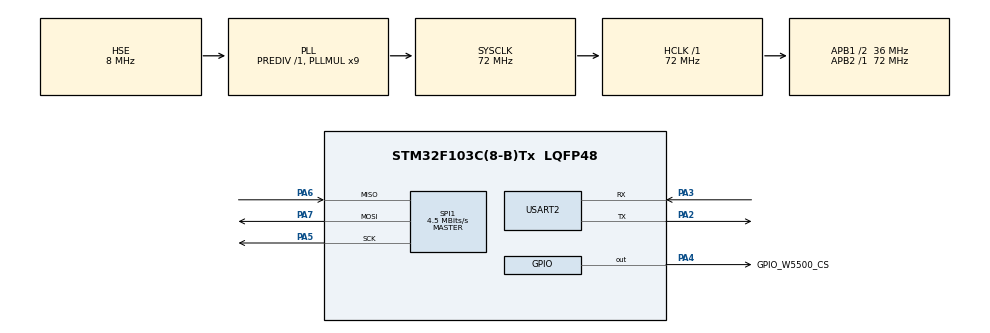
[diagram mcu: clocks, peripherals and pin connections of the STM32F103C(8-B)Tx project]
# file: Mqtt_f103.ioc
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FREERTOS.Tasks01=defaultTask,0,128,StartDefaultTask,Default,NULL,Dynamic,NULL,NULL
FREERTOS.configTOTAL_HEAP_SIZE=3072
Mcu.Family=STM32F1
Mcu.Name=STM32F103C(8-B)Tx
Mcu.Package=LQFP48
NVIC.PriorityGroup=NVIC_PRIORITYGROUP_4
NVIC.TIM4_IRQn=true\:0\:0\:false\:false\:true\:false\:false\:true
NVIC.TimeBase=TIM4_IRQn
NVIC.TimeBaseIP=TIM4
NVIC.USART2_IRQn=true\:0\:0\:false\:false\:true\:false\:true\:true
PA13.Mode=Serial_Wire
PA13.Signal=SYS_JTMS-SWDIO
PA14.Mode=Serial_Wire
PA14.Signal=SYS_JTCK-SWCLK
PA2.Mode=Asynchronous
PA2.Signal=USART2_TX
PA3.Mode=Asynchronous
PA3.Signal=USART2_RX
PA4.GPIO_Label=GPIO_W5500_CS
PA4.GPIO_Speed=GPIO_SPEED_FREQ_HIGH
PA4.Signal=GPIO_Output
PA5.Mode=Full_Duplex_Master
PA5.Signal=SPI1_SCK
PA6.Mode=Full_Duplex_Master
PA6.Signal=SPI1_MISO
PA7.Mode=Full_Duplex_Master
PA7.Signal=SPI1_MOSI
PD0-OSC_IN.Mode=HSE-External-Oscillator
PD0-OSC_IN.Signal=RCC_OSC_IN
PD1-OSC_OUT.Mode=HSE-External-Oscillator
PD1-OSC_OUT.Signal=RCC_OSC_OUT
ProjectManager.HeapSize=0x200
ProjectManager.StackSize=0x400
ProjectManager.TargetToolchain=STM32CubeIDE
RCC.AHBFreq_Value=72000000
RCC.APB1CLKDivider=RCC_HCLK_DIV2
RCC.APB1Freq_Value=36000000
RCC.APB1TimFreq_Value=72000000
RCC.APB2Freq_Value=72000000
RCC.APB2TimFreq_Value=72000000
RCC.HCLKFreq_Value=72000000
RCC.PLLMUL=RCC_PLL_MUL9
RCC.PLLSourceVirtual=RCC_PLLSOURCE_HSE
RCC.SYSCLKFreq_VALUE=72000000
RCC.SYSCLKSource=RCC_SYSCLKSOURCE_PLLCLK
RCC.USBFreq_Value=72000000
SPI1.BaudRatePrescaler=SPI_BAUDRATEPRESCALER_16
SPI1.CalculateBaudRate=4.5 MBits/s
SPI1.Direction=SPI_DIRECTION_2LINES
SPI1.Mode=SPI_MODE_MASTER
SPI1.VirtualType=VM_MASTER
USART2.VirtualMode=VM_ASYNC
VP_FREERTOS_VS_CMSIS_V1.Mode=CMSIS_V1
VP_SYS_VS_tim4.Mode=TIM4
board=custom

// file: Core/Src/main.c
/* USER CODE BEGIN Header */
/**
  ******************************************************************************
  * @file           : main.c
  * @brief          : Main program body
  ******************************************************************************
  * @attention
  *
  * <h2><center>&copy; Copyright (c) 2020 STMicroelectronics.
  * All rights reserved.</center></h2>
  *
  * This software component is licensed by ST under BSD 3-Clause license,
  * the "License"; You may not use this file except in compliance with the
  * License. You may obtain a copy of the License at:
  *                        opensource.org/licenses/BSD-3-Clause
  *
  ******************************************************************************
  */
/* USER CODE END Header */

#include "main.h"

/* USER CODE BEGIN Includes */
#include "FreeRTOS.h"
#include "task.h"
#include "queue.h"
#include "semphr.h"
#include "event_groups.h"
#include "timers.h"

#include "spi.h"
#include <stdio.h>
#include <stdlib.h>
#include <stdarg.h>
#include <string.h>
#include <stdint.h>

//INCLUSAO DAS LIBS PARA W5500 E MQTT
#include "socket.h"	// Just include one header for WIZCHIP
#include "wizchip_conf.h"
#include "mqtt_interface.h"
#include "MQTTClient.h"
#include "dhcp.h"
#include "dns.h"
/* USER CODE END Includes */

/* USER CODE BEGIN PTD */
typedef enum
{
	Bit_RESET = 0,
	Bit_SET
}BitAction;
/* USER CODE END PTD */

/* USER CODE BEGIN PD */
//defines para socket e tamanho de buffer para w5500
#define TCP_SOCKET	0
#define UDP_SOCKET	1
#define SOCK_DNS    6
#define DATA_BUF_SIZE   2048

//defines para bits do evt groups
#define BIT_0_MQTT (1 << 0)
#define BIT_1 (1 << 1)
#define BIT_2 (1 << 2)
#define BIT_3 (1 << 3)
#define BIT_4 (1 << 4)
#define BIT_5 (1 << 5)
#define BIT_6 (1 << 6)
#define BIT_7 (1 << 7)
#define BIT_8 (1 << 8)
#define BIT_9 (1 << 9)
#define BIT_10 (1 << 10)
#define BIT_11 (1 << 11)
#define BIT_12 (1 << 12)
#define BIT_13 (1 << 13)
#define BIT_14 (1 << 14)
#define BIT_15 (1 << 15)
#define BIT_16 (1 << 16)
#define BIT_17 (1 << 17)
#define BIT_18 (1 << 18)
#define BIT_19 (1 << 19)
#define BIT_20 (1 << 20)
#define BIT_21 (1 << 21)
#define BIT_22 (1 << 22)
#define BIT_23 (1 << 23)

char local_buf[500] = {0};
int VALUE = 0;
int x = 0;

uint32_t comando;
uint32_t comando1;

/* USER CODE END PD */

SPI_HandleTypeDef hspi1;

UART_HandleTypeDef huart2;

/* USER CODE BEGIN PV */
//mutexes para sicronização de perifericos
SemaphoreHandle_t xMutex = NULL;
SemaphoreHandle_t xSPIW5500_MUTEX = NULL;
EventGroupHandle_t xEvt_Group_f103 = NULL;

//variaveil que sincroniza os timers das libs do mqtt, dns e w5500
unsigned long MilliTimer = 0;

//variaveis para DNS E DHCP
uint16_t SEDHCP =1; //0= IP FIXO //1= DHCP
extern uint8_t  DNS_SOCKET;    // SOCKET number for DNS
uint8_t gDATABUF[DATA_BUF_SIZE];
uint8_t char_buff[500] = {0};

uint16_t porta = 80; //PORTA WEBSERVER
Network n;	//network w5500
Client c;	//client mqtt
//states for multi-thread http
#define HTTP_IDLE 0
#define HTTP_SENDING 1

//variables for multi-thread http
uint32_t sentsize[_WIZCHIP_SOCK_NUM_];
uint32_t filesize[_WIZCHIP_SOCK_NUM_];
uint8_t http_state[_WIZCHIP_SOCK_NUM_];

///////////////////////////////////
// Default Network Configuration //
///////////////////////////////////
wiz_NetInfo gWIZNETINFO = { .mac = {0xDE, 0xAD, 0xBE, 0xFB, 0xFE, 0xED},
							.ip = {169, 254, 216, 240},
							.sn = {255,255,255,0},
							.gw = {169, 254, 216, 1},
							.dns = {0,0,0,0},
							.dhcp = NETINFO_STATIC };

//estrutura de dados para lib do mqtt.
struct opts_struct
{
	char* clientid;
	int nodelimiter;
	char* delimiter;
	enum QoS qos;
	char* username;
	char* password;
	char* host;
	int port;
	int showtopics;//       usuário                     password             server      porta
} opts ={(char*)"LucasHardware", 0, (char*)"\n", QOS0, "general", "mqtt", (char*)"5.196.95.208",1883, 1};
				//clientIDMQTTalterado
/* USER CODE END PV */

void SystemClock_Config(void);
static void MX_GPIO_Init(void);
static void MX_SPI1_Init(void);
static void MX_USART2_UART_Init(void);

/* USER CODE BEGIN PFP */
//------TAREFAS------
void vTask_blink (void *pvParameter );
void vMQTT_Yield (void * pvParameter );
void vPub_MQTT ( void *pvParameter );

//-----FUNCOES------
void vPrintString (char* UartSend_f);
void USARTlib_Putc(UART_HandleTypeDef* huart, char c);
void USARTlib_Puts(char* str);
void env_info_rede();
uint8_t ucGet_IP_by_DNS(uint8_t * domain_name, uint8_t * domain_ip_return);
void messageArrived(MessageData* data);
void Publica_MQTT();

//////////
// TODO //
//////////////////////////////////////////////////////////////////////////////////////////////
// Call back function for W5500 SPI - Theses used as parameter of reg_wizchip_xxx_cbfunc()  //
// Should be implemented by WIZCHIP users because host is dependent                         //
//////////////////////////////////////////////////////////////////////////////////////////////
void  wizchip_select(void);
void  wizchip_deselect(void);
void  wizchip_write(uint8_t wb);
uint8_t wizchip_read();
//////////////////////////////////////////////////////////////////////////////////////////////

//////////////////////////////////
// For example of ioLibrary_BSD //
//////////////////////////////////
void network_init(void);								// Initialize Network information and display it
int16_t tcp_client(uint8_t sn, uint8_t* tx_buf, uint8_t* rx_buf, uint8_t buffer_send_size, uint8_t* buffer_recv_size, uint8_t* destip, uint16_t destport);
//////////////////////////////////
/* USER CODE END PFP */

int main(void)
{
  /* USER CODE BEGIN 1 */
	uint8_t i;
	uint8_t memsize[2][8] = {{2,2,2,2,2,2,2,2},{2,2,2,2,2,2,2,2}};
  /* USER CODE END 1 */

  /* MCU Configuration--------------------------------------------------------*/

  /* Reset of all peripherals, Initializes the Flash interface and the Systick. */
  HAL_Init();

  /* Configure the system clock */
  SystemClock_Config();

  /* Initialize all configured peripherals */
  MX_GPIO_Init();
  MX_SPI1_Init();
  MX_USART2_UART_Init();

  /* USER CODE BEGIN RTOS_MUTEX */
  //criação de mutexes para sincronização de envio na uart e na spi
  xMutex = xSemaphoreCreateMutex();
  xSPIW5500_MUTEX = xSemaphoreCreateMutex();

  if( xMutex != NULL) vPrintString("xMutex criada com sucesso!\r\n");
  if( xSPIW5500_MUTEX != NULL) vPrintString("xSPIW5500_MUTEX criada com sucesso!\r\n");

	//INICIALIZAÇÃO DO PHY ETH W5500 QUE DEPENDE DAS MUTEX FUNCIONANDO.
	////////////////////////////////////////////////////////////////////////////////////////////////////
	// First of all, Should register SPI callback functions implemented by user for accessing WIZCHIP //
	////////////////////////////////////////////////////////////////////////////////////////////////////

	/* Chip selection call back */

	#if   _WIZCHIP_IO_MODE_ == _WIZCHIP_IO_MODE_SPI_VDM_
	reg_wizchip_cs_cbfunc(wizchip_select, wizchip_deselect);
	#elif _WIZCHIP_IO_MODE_ == _WIZCHIP_IO_MODE_SPI_FDM_
	reg_wizchip_cs_cbfunc(wizchip_select, wizchip_select);  // CS must be tried with LOW.
	#else
	#if (_WIZCHIP_IO_MODE_ & _WIZCHIP_IO_MODE_SIP_) != _WIZCHIP_IO_MODE_SIP_
	#error "Unknown _WIZCHIP_IO_MODE_"
	#else
	reg_wizchip_cs_cbfunc(wizchip_select, wizchip_deselect);
	#endif
	#endif

	/* SPI Read & Write callback function */
	reg_wizchip_spi_cbfunc(wizchip_read, wizchip_write);

	////////////////////////////////////////////////////////////////////////
	/* WIZCHIP SOCKET Buffer initialize */
	if(ctlwizchip(CW_INIT_WIZCHIP,(void*)memsize) == -1)
	{
		//init fail
		while(1);
	}

	/* Network initialization */
	network_init();
  /* USER CODE END RTOS_MUTEX */

  /* USER CODE BEGIN RTOS_SEMAPHORES */
	//criação de evt group que sincroniza as tarefas que dependem de um bit
	xEvt_Group_f103 = xEventGroupCreate();

  /* USER CODE END RTOS_SEMAPHORES */

  /* Create the thread(s) */
  /* definition and creation of defaultTask */

  /* USER CODE BEGIN RTOS_THREADS */
	/**
	 * COMO O PROJETO É CONSTITUIDO EM FREERTOS, TEMOS CONSIDERAÇÕES A POR AQUI
	 *
	 * 1 - As tarefas estão concorrendo entre si com uma frequencia de 1KHz, ou seja,
	 * a cada milisegundo ocorre uma troca de contexto e o kernel poe uma nova tarefa em execução,
	 * baseado em nivel de prioridade e se ela esta ou não nos estados, ready, bloqued, suspend.
	 *
	 * 2 - Para enviar dados entre tarefas devem ser utilizados as topologias de eventos baseados em Filas
	 *
	 * 3 - Para sincronizar recursos compartilhados, como por exemplo, envio na SPI, UART, display ou algo do tipo,
	 * devem ser utilizadas as mutexes, como estamos utilizando aqui, uma para serial, outra para SPI.
	 *
	 * 4 - Para sincronizar tarefas com recursos globais, como, tarefas que dependem da conexão com mqtt ativa para funcionar por exemplo,
	 * devemos utilizar event_groups,
	 *
	 * 5 - Para sincronizar eventos entre tarefas ou recursos baseados em flag ou maquina de estados, devemos utilizar task notiy e semaforos.
	 */

	if( (xTaskCreate( vTask_blink, "blink task", configMINIMAL_STACK_SIZE * 3 , NULL, 1, NULL) ) != pdTRUE )
	{
	//sprintf(UartSend,"nao foi possivel alocar tarefa vTask_blink no escalonador");
	//HAL_UART_Transmit(&huart2,(uint8_t*) UartSend, sizeof(UartSend), 10);

	vPrintString("nao foi possivel alocar tarefa vTaskBlink no escalonador");
	}

	if( (xTaskCreate( vMQTT_Yield, "MQTT YIELD", configMINIMAL_STACK_SIZE * 6 , NULL, 3, NULL) ) != pdTRUE )
	{
	//sprintf(UartSend,"nao foi possivel alocar tarefa vTask_blink no escalonador");
	//HAL_UART_Transmit(&huart2,(uint8_t*) UartSend, sizeof(UartSend), 10);

	vPrintString("nao foi possivel alocar tarefa vMQTT_Yield no escalonador");
	}

	if( (xTaskCreate( vPub_MQTT, "MQTT PUB", configMINIMAL_STACK_SIZE * 2, NULL, 1, NULL) ) != pdTRUE )
	{
	//sprintf(UartSend,"nao foi possivel alocar tarefa vTask_blink no escalonador");
	//HAL_UART_Transmit(&huart2,(uint8_t*) UartSend, sizeof(UartSend), 10);

	vPrintString("nao foi possivel alocar tarefa vPub_MQTT no escalonador");
	}

	vTaskStartScheduler();

  /* USER CODE END RTOS_THREADS */

  /* Start scheduler */

  /* We should never get here as control is now taken by the scheduler */
  /* Infinite loop */
  while (1)
  {

  }
}

void SystemClock_Config(void)
{
  RCC_OscInitTypeDef RCC_OscInitStruct = {0};
  RCC_ClkInitTypeDef RCC_ClkInitStruct = {0};

  /** Initializes the CPU, AHB and APB busses clocks
  */
  RCC_OscInitStruct.OscillatorType = RCC_OSCILLATORTYPE_HSE;
  RCC_OscInitStruct.HSEState = RCC_HSE_ON;
  RCC_OscInitStruct.HSEPredivValue = RCC_HSE_PREDIV_DIV1;
  RCC_OscInitStruct.HSIState = RCC_HSI_ON;
  RCC_OscInitStruct.PLL.PLLState = RCC_PLL_ON;
  RCC_OscInitStruct.PLL.PLLSource = RCC_PLLSOURCE_HSE;
  RCC_OscInitStruct.PLL.PLLMUL = RCC_PLL_MUL9;
  if (HAL_RCC_OscConfig(&RCC_OscInitStruct) != HAL_OK)
  {
    Error_Handler();
  }
  /** Initializes the CPU, AHB and APB busses clocks
  */
  RCC_ClkInitStruct.ClockType = RCC_CLOCKTYPE_HCLK|RCC_CLOCKTYPE_SYSCLK
                              |RCC_CLOCKTYPE_PCLK1|RCC_CLOCKTYPE_PCLK2;
  RCC_ClkInitStruct.SYSCLKSource = RCC_SYSCLKSOURCE_PLLCLK;
  RCC_ClkInitStruct.AHBCLKDivider = RCC_SYSCLK_DIV1;
  RCC_ClkInitStruct.APB1CLKDivider = RCC_HCLK_DIV2;
  RCC_ClkInitStruct.APB2CLKDivider = RCC_HCLK_DIV1;

  if (HAL_RCC_ClockConfig(&RCC_ClkInitStruct, FLASH_LATENCY_2) != HAL_OK)
  {
    Error_Handler();
  }
}

static void MX_SPI1_Init(void)
{

  /* SPI1 parameter configuration*/
  hspi1.Instance = SPI1;
  hspi1.Init.Mode = SPI_MODE_MASTER;
  hspi1.Init.Direction = SPI_DIRECTION_2LINES;
  hspi1.Init.DataSize = SPI_DATASIZE_8BIT;
  hspi1.Init.CLKPolarity = SPI_POLARITY_LOW;
  hspi1.Init.CLKPhase = SPI_PHASE_1EDGE;
  hspi1.Init.NSS = SPI_NSS_SOFT;
  hspi1.Init.BaudRatePrescaler = SPI_BAUDRATEPRESCALER_16;
  hspi1.Init.FirstBit = SPI_FIRSTBIT_MSB;
  hspi1.Init.TIMode = SPI_TIMODE_DISABLE;
  hspi1.Init.CRCCalculation = SPI_CRCCALCULATION_DISABLE;
  hspi1.Init.CRCPolynomial = 10;
  if (HAL_SPI_Init(&hspi1) != HAL_OK)
  {
    Error_Handler();
  }

}

static void MX_USART2_UART_Init(void)
{

  huart2.Instance = USART2;
  huart2.Init.BaudRate = 115200;
  huart2.Init.WordLength = UART_WORDLENGTH_8B;
  huart2.Init.StopBits = UART_STOPBITS_1;
  huart2.Init.Parity = UART_PARITY_NONE;
  huart2.Init.Mode = UART_MODE_TX_RX;
  huart2.Init.HwFlowCtl = UART_HWCONTROL_NONE;
  huart2.Init.OverSampling = UART_OVERSAMPLING_16;
  if (HAL_UART_Init(&huart2) != HAL_OK)
  {
    Error_Handler();
  }

}

static void MX_GPIO_Init(void)
{
  GPIO_InitTypeDef GPIO_InitStruct = {0};

  /* GPIO Ports Clock Enable */
  __HAL_RCC_GPIOD_CLK_ENABLE();
  __HAL_RCC_GPIOA_CLK_ENABLE();

  /*Configure GPIO pin Output Level */
  HAL_GPIO_WritePin(GPIO_W5500_CS_GPIO_Port, GPIO_W5500_CS_Pin, GPIO_PIN_RESET);

  /*Configure GPIO pin : GPIO_W5500_CS_Pin */
  GPIO_InitStruct.Pin = GPIO_W5500_CS_Pin;
  GPIO_InitStruct.Mode = GPIO_MODE_OUTPUT_PP;
  GPIO_InitStruct.Pull = GPIO_NOPULL;
  GPIO_InitStruct.Speed = GPIO_SPEED_FREQ_HIGH;
  HAL_GPIO_Init(GPIO_W5500_CS_GPIO_Port, &GPIO_InitStruct);

}

/* USER CODE BEGIN 4 */
//------------------------------------------ INICIO DAS TAREFAS ------------------------------------------------------
void vMQTT_Yield (void * pvParameter )
{
	//inicio da tarefa que da manutenção da conexão mqtt
	vPrintString("vMQTT_YIELD iniciada com sucesso\r\n");

	//variavel que armazena o estado atual da conexão
	int rc = -1;

	unsigned int targetPort = 1883; //PORTA SERVIDOR MQTT

	uint8_t Domain_name[] = "";    		// for Example domain name
	uint8_t Domain_IP[4]  = {192,168,1,142 };               		// Translated IP address by DNS Server

	unsigned char recvBuff[1024] = {0};
	unsigned char sendBuff[1024] = {0};

	//função que retorna o IP do mqtt
	ucGet_IP_by_DNS(Domain_name, Domain_IP);

	for(;;)
	{
		//verifica se RC não recebeu estado de conexão ativa, caso nao tenha recebido, faz a conexão com broker mqtt a partir do socket
		if(rc != SUCCESSS)
		{
			//desconetar algum possivel socket aberto e limpar bit de evt group para MQTT.
			w5500_disconnect(&n);
			xEventGroupClearBits(xEvt_Group_f103, BIT_0_MQTT);

			//preparação da camamda network do w5500 para comunicar-se com a camada do mqtt
			NewNetwork(&n);
			vPrintString("Conectando ao servidor do MQTT por meio de socket!\r\n");
			ConnectNetwork(&n, Domain_IP, targetPort);

			//caso conexão do socket seja bem sucedida, é repassado os buffers para conexão com mqtt
			vPrintString("Conectando ao broker mqtt");
			MQTTClient(&c,&n,20000,sendBuff,1024,recvBuff,1024);
			vTaskDelay(10/portTICK_PERIOD_MS);

			MQTTPacket_connectData data = MQTTPacket_connectData_initializer;
			data.willFlag = 0;
			data.MQTTVersion = 3;
			data.clientID.cstring = opts.clientid;
			data.username.cstring = opts.username;
			data.password.cstring = opts.password;
			data.keepAliveInterval = 60;
			data.cleansession = 1;

			//conexão com protoclo mqtt é tentada, caso seja estabelecida, SUCCESS é chamado para rc
			rc = MQTTConnect(&c, &data);
			opts.showtopics = 1;

			if(rc == SUCCESSS)
			{
				vPrintString("MQTT Conectado com sucesso!!\r\n");
				//liberar evt group, fazer subscriber em topico e etc..
				MQTTSubscribe(&c, "w5500_LUCAS_", QOS0, messageArrived);

				xEventGroupSetBits(xEvt_Group_f103, BIT_0_MQTT);
			}
		}

		//if(rc==SUCCESSS) MQTTYield(&c, 1000); //varredura de protocolo mqtt para receber dados em topicos e fazer manutenção da conexao

		//testar esse tipo de implementação
		rc = MQTTYield(&c, 1000);

		memset(char_buff, 0, sizeof(char_buff));
		sprintf(char_buff,"rc value = %d", rc);
		vPrintString(char_buff);

		//delay para liberar contexto as outras tarefas
		vTaskDelay(100/portTICK_PERIOD_MS);
	}

	//vTaskDelet neste ponto da tarefa é uma boa pratica, mas, o codigo nunca deve chegar aqui.
	vTaskDelete(NULL);
}

void vPub_MQTT ( void *pvParameter )
{
	vPrintString("Tarefa Pub_MQTT Iniciada com Sucesso!\r\n");

	for( ;; )
	{
		//esse event_group mantem a tarefa bloqueada enquanto a conexão MQTT foi estabelecida
		xEventGroupWaitBits(xEvt_Group_f103, BIT_0_MQTT, pdFALSE, pdFALSE, portMAX_DELAY);

		//faz o envio de um dado via mqtt
		Publica_MQTT();
		vPrintString("Loop MQTT PUB\n");

		//bloqueia a terfa por 5 segundos para o proximo envio
		vTaskDelay(5000/portTICK_PERIOD_MS);
	}
	//vTaskDelet neste ponto da tarefa é uma boa pratica, mas, o codigo nunca deve chegar aqui.
	vTaskDelete(NULL);
}

void vTask_blink( void *pvParameter )
{
	char buff[300];
	vPrintString("vTaskBlink iniciada!! \r\n");
	//uint16_t size_heap = 0;

    for( ;; )
	{
    	//essa tarefa serve para depurarmos o consumo de memoria ram das nossas tarefas, como tambem verificar a quantidade de heap livre

    	//essa função do vTaskList não deve ser utilizada em produção em campo, pois a mesma não é deterministica
    	vTaskList(buff);

    	vPrintString("\r\nTask-------------State-----Prio------Stack---Num\r\n");
    	vPrintString(buff);
    	vPrintString("\n\n\n");

        memset(buff, 0, sizeof(buff));
        //size_heap = xPortGetMinimumEverFreeHeapSize();
        sprintf(buff,"Free Heap: %d bytes\n\n", xPortGetMinimumEverFreeHeapSize());

        vPrintString(buff);

        vTaskDelay( 10000 / portTICK_PERIOD_MS );

       //vPrintString("Task Blink \r\n");
    }

	//vTaskDelet neste ponto da tarefa é uma boa pratica, mas, o codigo nunca deve chegar aqui.
    vTaskDelete(NULL);
}

//------------------------------------------ FIM DAS TAREFAS ---------------------------------------------------------

//--------------------------------------------------------------------------------------------------------------------

//------------------------------------------ INICIO DAS FUNÇÔES ------------------------------------------------------
//Função de callback para MQTT
void messageArrived(MessageData* data)
{
	//tentar passar o minimo de tempo possivel aqui no callback, pois temos 5s de timeout setados em mqtt.yield()
	/*
	printf("Message arrived on topic %.*s: %.*s\n", data->topicName->lenstring.len, data->topicName->lenstring.data,
		data->message->payloadlen, data->message->payload);
	*/

	memset(char_buff, 0, sizeof(char_buff));

	sprintf(char_buff,"\n%.*s\n", data->message->payloadlen, data->message->payload);
	//sprintf(char_buff,"Msg Recebida:\nTopico = %.*s\nMsg= %.*s\n",data->topicName->lenstring.len, data->topicName->lenstring.data, data->message->payloadlen, data->message->payload);
	vPrintString(char_buff);

	comando = atoi  ( char_buff);

	comando1 = comando;

	if (comando1 == 10)
	{
		vPrintString("mss_ok!!! \r\n");
	}

}

void Publica_MQTT()
{
	MQTTMessage pubmsg;
	pubmsg.qos = QOS0;
	pubmsg.retained = 0;

	x++;

	VALUE = x * 5;

	char local_buf [500];
	sprintf (local_buf, "%02u", VALUE);

	pubmsg.payload = local_buf;
	pubmsg.payloadlen = strlen(local_buf);

	MQTTPublish (&c, "ihm/amperes", &pubmsg);

	if(VALUE >= 100)
	{
		VALUE = 0;
		x = 0;
	}
}

void vPrintString (char * UartSend_f)
{
	xSemaphoreTake( xMutex, portMAX_DELAY );
	{

	USARTlib_Puts(UartSend_f);

	}
	xSemaphoreGive( xMutex );

}

void USARTlib_Putc(UART_HandleTypeDef* huart, char c)
{
	//Envia caracter
	HAL_UART_Transmit(huart, &c, 1, 10);
}

void USARTlib_Puts(char* str)
{
	while (*str)
	{
		USARTlib_Putc(&huart2, *str++);
	}
}

uint8_t W5500_rxtx(uint8_t data)
{
	xSemaphoreTake(xSPIW5500_MUTEX, portMAX_DELAY);

	uint8_t rxdata;
	HAL_SPI_TransmitReceive(&hspi1, &data, &rxdata, 1, 50);

	xSemaphoreGive(xSPIW5500_MUTEX);
	return (rxdata);
}

//////////
// TODO //
/////////////////////////////////////////////////////////////////
// SPI Callback function for accessing WIZCHIP                 //
// WIZCHIP user should implement with your host spi peripheral //
/////////////////////////////////////////////////////////////////
void  wizchip_select(void)
{
	W5500_select();
}

void  wizchip_deselect(void)
{
	W5500_release();
}

void  wizchip_write(uint8_t wb)
{
	W5500_tx(wb);
}

uint8_t wizchip_read()
{
   return W5500_rx();
}
//////////////////////////////////////////////////////////////////////////

/////////////////////////////////////////////////////////////
// Intialize the network information to be used in WIZCHIP //
/////////////////////////////////////////////////////////////
void network_init(void)
{
   uint8_t tmpstr[6];

	ctlnetwork(CN_SET_NETINFO, (void*)&gWIZNETINFO);

	ctlwizchip(CW_GET_ID,(void*)tmpstr);
	/*
	do{//check phy status.
		if(ctlwizchip(CW_GET_PHYLINK,(void*)&temp) == -1){
			USARTlib_Puts("Unknown PHY link status.\r\n");
		}
	}while(temp == PHY_LINK_OFF);*/

	if(SEDHCP==0){
		USARTlib_Puts("W5500 IP Fixo\r\n");
		wizchip_setnetinfo(&gWIZNETINFO);
	}
	if(SEDHCP==1){
		USARTlib_Puts("W5500 Rodando DHCP\r\n");
		DHCP_init(7, gDATABUF);
		unsigned char dhcp_ret ;

		do{
			dhcp_ret = DHCP_run();

			if((dhcp_ret == 1) || (dhcp_ret == DHCP_IP_CHANGED)) {
				getIPfromDHCP(gWIZNETINFO.ip);
				getGWfromDHCP(gWIZNETINFO.gw);
				getSNfromDHCP(gWIZNETINFO.sn);
				getDNSfromDHCP(gWIZNETINFO.dns);
				gWIZNETINFO.dhcp = NETINFO_DHCP;
				wizchip_setnetinfo(&gWIZNETINFO);
			}
			if(dhcp_ret == DHCP_FAILED)	{
				USARTlib_Puts(">> DHCP Failed\r\n");
			}
			//USARTlib_Puts("Iteracao para DHCP\r\n");
		}while(dhcp_ret!=4);
	}

	env_info_rede();
}

void env_info_rede(){
	char writeValue[200] = {0};

	wizchip_getnetinfo(&gWIZNETINFO);
	memset(&writeValue[0],0,sizeof(writeValue));
	sprintf(writeValue,"Mac address: %02x:%02x:%02x:%02x:%02x:%02x\r\n",gWIZNETINFO.mac[0],gWIZNETINFO.mac[1],gWIZNETINFO.mac[2],gWIZNETINFO.mac[3],gWIZNETINFO.mac[4],gWIZNETINFO.mac[5]);
	USARTlib_Puts(writeValue);

	memset(&writeValue[0],0,sizeof(writeValue));
	sprintf(writeValue,"IP address: %d.%d.%d.%d\r\n", gWIZNETINFO.ip[0],gWIZNETINFO.ip[1],gWIZNETINFO.ip[2],gWIZNETINFO.ip[3]);
	USARTlib_Puts(writeValue);

	memset(&writeValue[0],0,sizeof(writeValue));
	sprintf(writeValue,"SM Mask: %d.%d.%d.%d\r\n",gWIZNETINFO.sn[0],gWIZNETINFO.sn[1],gWIZNETINFO.sn[2],gWIZNETINFO.sn[3]);
	USARTlib_Puts(writeValue);

	memset(&writeValue[0],0,sizeof(writeValue));
	sprintf(writeValue,"Gate way: %d.%d.%d.%d\r\n",gWIZNETINFO.gw[0],gWIZNETINFO.gw[1],gWIZNETINFO.gw[2],gWIZNETINFO.gw[3]);
	USARTlib_Puts(writeValue);

	memset(&writeValue[0],0,sizeof(writeValue));
	sprintf(writeValue,"DNS Server: %d.%d.%d.%d\r\n",gWIZNETINFO.dns[0],gWIZNETINFO.dns[1],gWIZNETINFO.dns[2],gWIZNETINFO.dns[3]);
	USARTlib_Puts(writeValue);
}

uint8_t ucGet_IP_by_DNS(uint8_t * domain_name, uint8_t * domain_ip_return)
{

	uint8_t DNS_1nd[4]    = {8, 8, 8, 8};      	// Secondary DNS server IP
	uint8_t DNS_2nd[4]    = {208, 67, 222, 222};      	// Secondary DNS server IP
	uint8_t DNS_3nd[4]    = {208, 67, 222, 222};      	// Secondary DNS server IP

	uint8_t ret = 0;
	DNS_init(SOCK_DNS, gDATABUF);

	if ((ret = DNS_run(gWIZNETINFO.dns, domain_name, domain_ip_return)) > 0) // try to 1st DNS
	{
	   vPrintString("> 1st DNS Respond\r\n");
	}
	else if ((ret != -1) && ((ret = DNS_run(DNS_1nd, domain_name, domain_ip_return))>0))     // retry to 2nd DNS
	{
		vPrintString("> 2nd DNS Respond\r\n");
	}
	else if(ret == -1)
	{
		vPrintString("> MAX_DOMAIN_NAME is too small. Should be redefined it.\r\n");
	}
	else
	{
		vPrintString("> DNS Failed\r\n");
	}

	if(ret > 0)
	{
		char buff_trans[200];
		sprintf(buff_trans,"> Translated %s to [%d.%d.%d.%d]\r\n",domain_name,domain_ip_return[0],domain_ip_return[1],domain_ip_return[2],domain_ip_return[3]);
		vPrintString(buff_trans);

		return 1;
	}

	return 0;
}

//Código de erros e mensagens:
//sn 	- 	Success : The socket number @b 'sn' passed as parameter
//1	-	SOCK_OK
//-1	-	SOCKERR_SOCKNUM  - Invalid socket number
//-5	-	SOCKERR_SOCKMODE - Invalid operation in the socket
//-13	-	SOCKERR_TIMEOUT  - Timeout occurred
//-7	-	SOCKERR_SOCKSTATUS - Invalid socket status for socket operation
//-14	-	SOCKERR_DATALEN    - zero data length
//-12	-	SOCKERR_IPINVALID   - Wrong server IP address
//-11	-	SOCKERR_PORTZERO    - Server port zero
//-4	-	SOCKERR_SOCKCLOSED  - Socket unexpectedly closed
//-6	-	SOCKERR_SOCKFLAG    - Invaild socket flag
//-1000 -	SOCK_FATAL  - Result is fatal error about socket process.
//0	-	SOCK_BUSY		 - Socket is busy
//200	-	SUCCESS_RECEIVE
int16_t tcp_client(uint8_t sn, uint8_t* tx_buf, uint8_t* rx_buf, uint8_t buffer_send_size, uint8_t* buffer_recv_size, uint8_t* destip, uint16_t destport)
{
   int32_t ret; // return value for SOCK_ERRORs
   uint16_t size = 0;
   // Destination (TCP Server) IP info (will be connected)
   // >> loopback_tcpc() function parameter
   // >> Ex)
   //	uint8_t destip[4] = 	{192, 168, 0, 214};
   //	uint16_t destport = 	5000;

   // Port number for TCP client (will be increased)
   uint16_t any_port = 	502;
   static uint8_t flagSent = 0;

   // Socket Status Transitions
   // Check the W5500 Socket n status register (Sn_SR, The 'Sn_SR' controlled by Sn_CR command or Packet send/recv status)
   switch(getSn_SR(sn))
   {
      case SOCK_ESTABLISHED:
         if(getSn_IR(sn) & Sn_IR_CON)	// Socket n interrupt register mask; TCP CON interrupt = connection with peer is successful
         {
#ifdef _LOOPBACK_DEBUG_
			printf("%d:Connected to - %d.%d.%d.%d : %d\r\n",sn, destip[0], destip[1], destip[2], destip[3], destport);
#endif
			setSn_IR(sn, Sn_IR_CON);  // this interrupt should be write the bit cleared to '1'
         }

         //////////////////////////////////////////////////////////////////////////////////////////////
         // Data Transaction Parts; Handle the [data receive and send] process
         //////////////////////////////////////////////////////////////////////////////////////////////
         if(flagSent == 0)
         {
        	 flagSent = 1;
    		 ret = send(sn, tx_buf, buffer_send_size); // Data send process (User's buffer -> Destination through H/W Tx socket buffer)
    		 if(ret < 0) // Send Error occurred (sent data length < 0)
    		 {
    			 close(sn); // socket close
    			 flagSent = 0;
    			 return ret;
    		 }
         }
         else if((size = getSn_RX_RSR(sn)) > 0) // Sn_RX_RSR: Socket n Received Size Register, Receiving data length
         {

			ret = recv(sn, rx_buf, size); // Data Receive process (H/W Rx socket buffer -> User's buffer)

			if(ret <= 0) return ret; // If the received data length <= 0, receive failed and process end
			*buffer_recv_size = size;
			flagSent = 0;
			return 200; //Success receive
         }

		 //////////////////////////////////////////////////////////////////////////////////////////////
         break;

      case SOCK_CLOSE_WAIT :
#ifdef _LOOPBACK_DEBUG_
         //printf("%d:CloseWait\r\n",sn);
#endif
         if((ret=disconnect(sn)) != SOCK_OK) return ret;
#ifdef _LOOPBACK_DEBUG_
         printf("%d:Socket Closed\r\n", sn);
#endif
         break;

      case SOCK_INIT :
#ifdef _LOOPBACK_DEBUG_
    	 printf("%d:Try to connect to the %d.%d.%d.%d : %d\r\n", sn, destip[0], destip[1], destip[2], destip[3], destport);
#endif
    	 if( (ret = connect(sn, destip, destport)) != SOCK_OK) return ret;	//	Try to TCP connect to the TCP server (destination)
         break;

      case SOCK_CLOSED:
    	  close(sn);
    	  if((ret=socket(sn, Sn_MR_TCP, any_port++, 0x00)) != sn) return ret; // TCP socket open with 'any_port' port number
#ifdef _LOOPBACK_DEBUG_
    	 //printf("%d:TCP client loopback start\r\n",sn);
         //printf("%d:Socket opened\r\n",sn);
#endif
         break;
      default:
         break;
   }
   return 1;
}

//------------------------------------------ FIM DAS FUNÇÔES ------------------------------------------------------
/* USER CODE END 4 */

 /**
  * @brief  Period elapsed callback in non blocking mode
  * @note   This function is called  when TIM4 interrupt took place, inside
  * HAL_TIM_IRQHandler(). It makes a direct call to HAL_IncTick() to increment
  * a global variable "uwTick" used as application time base.
  * @param  htim : TIM handle
  * @retval None
  */
void HAL_TIM_PeriodElapsedCallback(TIM_HandleTypeDef *htim)
{
  if (htim->Instance == TIM4) {
	MilliTimer++;
	if(MilliTimer % 1000 == 0)	DHCP_time_handler();
    HAL_IncTick();
  }
}

void Error_Handler(void)
{
}

/************************ (C) COPYRIGHT STMicroelectronics *****END OF FILE****/
